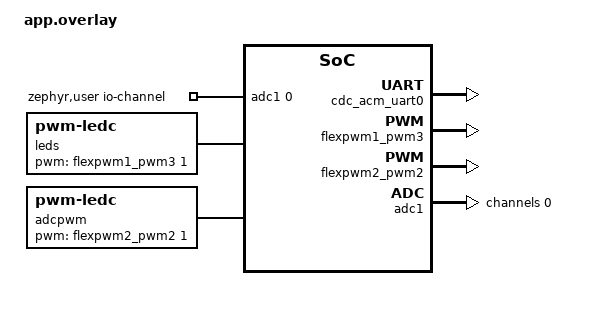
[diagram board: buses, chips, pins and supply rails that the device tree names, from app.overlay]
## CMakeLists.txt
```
cmake_minimum_required(VERSION 3.22)
set(BOARD teensy41)

find_package(Zephyr REQUIRED HINTS $ENV{ZEPHYR_BASE})
project(nxpcup)

target_sources(app PRIVATE src/main.c)
```

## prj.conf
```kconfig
CONFIG_PWM=y

CONFIG_GPIO=y

CONFIG_USB_DEVICE_STACK=y
CONFIG_USB_DEVICE_PRODUCT="Zephyr USB console sample"
CONFIG_USB_DEVICE_PID=0x0004
CONFIG_USB_DEVICE_INITIALIZE_AT_BOOT=n

CONFIG_SERIAL=y
CONFIG_CONSOLE=y
CONFIG_UART_CONSOLE=y
CONFIG_UART_LINE_CTRL=y

CONFIG_STDOUT_CONSOLE=y
CONFIG_PRINTK=y
CONFIG_LOG=y
CONFIG_LOG_PRINTK=y
CONFIG_LOG_MODE_IMMEDIATE=y
CONFIG_PWM_LOG_LEVEL_DBG=y

CONFIG_PINCTRL=y

CONFIG_PRINTK=y

CONFIG_HEAP_MEM_POOL_SIZE=256

CONFIG_ADC=y
CONFIG_ADC_LOG_LEVEL_DBG=y
```

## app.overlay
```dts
/ {
	chosen {
		zephyr,console = &cdc_acm_uart0;
	};
	
	zephyr,user {
		io-channels = <&adc1 0>;
	};

    leds: leds {
		compatible = "pwm-ledc";
		pwms = <&flexpwm1_pwm3 1 PWM_MSEC(20) PWM_POLARITY_NORMAL>;
		min-pulse = <PWM_USEC(700)>;
		max-pulse = <PWM_USEC(2500)>;
	};

	adcpwm: adcpwm {
		compatible = "pwm-ledc";
		pwms = <&flexpwm2_pwm2 1 PWM_MSEC(20) PWM_POLARITY_NORMAL>;
		min-pulse = <PWM_USEC(700)>;
		max-pulse = <PWM_USEC(2500)>;
	};

};

&zephyr_udc0 {
	cdc_acm_uart0: cdc_acm_uart0 {
		compatible = "zephyr,cdc-acm-uart";
	};
};

&pinctrl {
	pinmux_flexpwm_ch1: pinmux_flexpwm_ch1 {
		group0 {
			pinmux = <&iomuxc_gpio_b1_01_flexpwm1_pwmb3>;
			drive-strength = "r0-7";
			slew-rate = "fast";
			nxp,speed = "50-mhz";
		};
	};

	pinmux_flexpwm_ch2: pinmux_flexpwm_ch2 {
		group0 {
			pinmux = <&iomuxc_gpio_b0_11_flexpwm2_pwmb2>;
			drive-strength = "r0-7";
			slew-rate = "fast";
			nxp,speed = "50-mhz";
		};
	};

	pinmux_adc_ch1: pinmux_adc_ch1 {
		group0 {
			pinmux = <&iomuxc_gpio_ad_b1_11_adc1_in0>;
			drive-strength = "r0-7";
			slew-rate = "fast";
			nxp,speed = "50-mhz";
		};
	};
};
&flexpwm1_pwm3 {
	status = "okay";
	pinctrl-0 = <&pinmux_flexpwm_ch1>;
	pinctrl-names = "default";
	nxp,prescaler = <64>;
};

&flexpwm2_pwm2 {
	status = "okay";
	pinctrl-0 = <&pinmux_flexpwm_ch2>;
	pinctrl-names = "default";
	nxp,prescaler = <64>;
};

&adc1 {
	#address-cells = <1>;
	#size-cells = <0>;
	status = "okay";

	pinctrl-0 = <&pinmux_adc_ch1>;
	pinctrl-names = "default";

	channel@0 {
		reg = <0>;
		zephyr,gain = "ADC_GAIN_1";
		zephyr,reference = "ADC_REF_VDD_1";
		zephyr,vref-mv = <3300>;
		zephyr,acquisition-time = <ADC_ACQ_TIME_MAX>;
		zephyr,resolution = <12>;
	};
};



/*
 W NXP RT10xx PWM podzielony jest na:
  * moduły (np. flexpwm2)
  * podmoduły (np. flexpwm2_pwm2)
  * kanały (np. flexpwm2_pwma2, flexpwm2_pwmb2)

  I tak:
  Ustawiamy sobie moduł, podmoduł i kanał w pinmux. Mamy np ...pwmb2
  To oznacza, ze w pwms ustwiamy kanał 1 (a=0, b=1...)
  pwms = <&flexpwm2_pwm2 0 PWM_MSEC(20) PWM_POLARITY_NORMAL>;

  Uwaga:
  &flexpwm1_pwm3 {
	status = "okay";
	pinctrl-0 = <&pinmux_flexpwm_ch1>;
	pinctrl-names = "default";
	nxp,prescaler = <64>;
};

  Nazwy tutaj (np. &flexpwm1_pwm3) nie są arbitralne i są istotne!

  PWM kanał X nie będzie działał nie wchodzimy w to
 */
```

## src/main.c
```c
#include <zephyr/kernel.h>
#include <zephyr/device.h>
#include <zephyr/drivers/gpio.h>
#include <zephyr/sys/printk.h>
#include <zephyr/usb/usb_device.h>
#include <zephyr/drivers/uart.h>
#include <zephyr/drivers/pwm.h>
#include <zephyr/drivers/adc.h>
#include <string.h>

#define STACKSIZE 1024
#define PRIORITY 7

static const struct device *gpio_ct_dev2 = DEVICE_DT_GET(DT_NODELABEL(gpio2));

const struct device *const dev = DEVICE_DT_GET(DT_CHOSEN(zephyr_console));
uint32_t dtr = 0;

static const struct pwm_dt_spec pwmLeds = PWM_DT_SPEC_GET(DT_NODELABEL(leds));

static const struct pwm_dt_spec pwmAdc = PWM_DT_SPEC_GET(DT_NODELABEL(adcpwm));

#if !DT_NODE_EXISTS(DT_PATH(zephyr_user)) || \
    !DT_NODE_HAS_PROP(DT_PATH(zephyr_user), io_channels)
#error "No suitable devicetree overlay specified"
#endif

#define DT_SPEC_AND_COMMA(node_id, prop, idx) \
    ADC_DT_SPEC_GET_BY_IDX(node_id, idx),

/* Data of ADC io-channels specified in devicetree. */
static const struct adc_dt_spec adc_channels[] = {
    DT_FOREACH_PROP_ELEM(DT_PATH(zephyr_user), io_channels,
                         DT_SPEC_AND_COMMA)};

void blinkAmber()
{
    if (!device_is_ready(gpio_ct_dev2))
    {
        printk("GPIO device not ready\n");
        return;
    }

    int ret;
    ret = gpio_pin_configure(gpio_ct_dev2, 3, GPIO_OUTPUT_ACTIVE);

    if (ret != 0)
    {
        printk("GPIO device error\n");
        return;
    }

    while (1)
    {
        int ret = gpio_pin_set_raw(gpio_ct_dev2, 3, 1);
        printk("[BLINKAMBER] LED ON\n");
        if (ret != 0)
        {
            printk("err 0\n");
            return;
        }
        k_msleep(1000);

        ret = gpio_pin_set_raw(gpio_ct_dev2, 3, 0);
        printk("[BLINKAMBER] LED OFF\n");
        if (ret != 0)
        {
            printk("err 1\n");
            return;
        }
        k_msleep(1000);
    }
}

void pwmSmoothFade()
{
    if (!pwm_is_ready_dt(&pwmLeds))
    {
        printk("Error: PWM device %s is not ready\n",
               pwmLeds.dev->name);
        return;
    }

    uint32_t pulse_width = 0;
    bool increasing = true;

    while (1)
    {

        if (increasing)
        {
            pulse_width += 100000;
            if (pulse_width >= 20000000)
            {
                increasing = false;
            }
        }
        else
        {
            pulse_width -= 100000;
            if (pulse_width <= 0)
            {
                increasing = true;
            }
        }

        int err = pwm_set_pulse_dt(&pwmLeds, pulse_width);
        if (err)
        {
            printk("Error in pwm_set_dt(), err: %d", err);
            return;
        }

        k_msleep(10);
    }
}

void pwmSmoothFadePWMADC()
{
    if (!pwm_is_ready_dt(&pwmAdc))
    {
        printk("Error: PWM device %s is not ready\n",
               pwmAdc.dev->name);
        return;
    }

    int err = pwm_set_pulse_dt(&pwmAdc, 10000000);
    if (err)
    {
        printk("Error in pwm_set_dt(), err: %d", err);
        return;
    }
}

int main()
{
    if (usb_enable(NULL))
    {
        return 1;
    }

    printk("NXP says hello <3\n");

    if (!adc_is_ready_dt(&adc_channels[0]))
    {
        printk("ADC controller device %s not ready\n", adc_channels[0].dev->name);
        return 0;
    }

    int err = adc_channel_setup_dt(&adc_channels[0]);
    if (err < 0)
    {
        printk("Could not setup channel #%d (%d)", 0, err);
        return 0;
    }
}

void thread0(void)
{
    int16_t buf;
    struct adc_sequence sequence = {
        .buffer = &buf,
        /* buffer size in bytes, not number of samples */
        .buffer_size = sizeof(buf),
        // Optional
        //.calibrate = true,
    };

    int err = adc_sequence_init_dt(&adc_channels[0], &sequence);
    if (err < 0)
    {
        printk("Could not initalize sequnce");
        return;
    }

    while (1)
    {
        printk("[THREAD0] Hello, I am thread0\n");
        k_msleep(500);

        printk("[THREAD0] READ ADC1\n");

        err = adc_read(adc_channels[0].dev, &sequence);
        if (err < 0)
        {
            printk("Could not read (%d)", err);
            return;
        }

        int32_t val_mv;

        if (adc_channels[0].channel_cfg.differential)
        {
            val_mv = (int32_t)((int16_t)buf);
        }
        else
        {
            val_mv = (int32_t)buf;
        }
        printk("%" PRId32, val_mv);
        err = adc_raw_to_millivolts_dt(&adc_channels[0],
                                       &val_mv);
        /* conversion to mV may not be supported, skip if not */
        if (err < 0)
        {
            printk(" (value in mV not available)\n");
        }
        else
        {
            printk(" = %" PRId32 " mV\n", val_mv);
        }
    }
}

K_THREAD_DEFINE(blinkAmber_id, STACKSIZE, blinkAmber, NULL, NULL, NULL,
                PRIORITY, 0, 0);

K_THREAD_DEFINE(pwmSmoothFade_id, STACKSIZE, pwmSmoothFade, NULL, NULL, NULL,
                PRIORITY, 0, 0);

K_THREAD_DEFINE(pwmSmoothFadePWMADC_id, STACKSIZE, pwmSmoothFadePWMADC, NULL, NULL, NULL,
                PRIORITY, 0, 0);

K_THREAD_DEFINE(thread0_id, STACKSIZE, thread0, NULL, NULL, NULL,
                PRIORITY, 0, 0);
```
